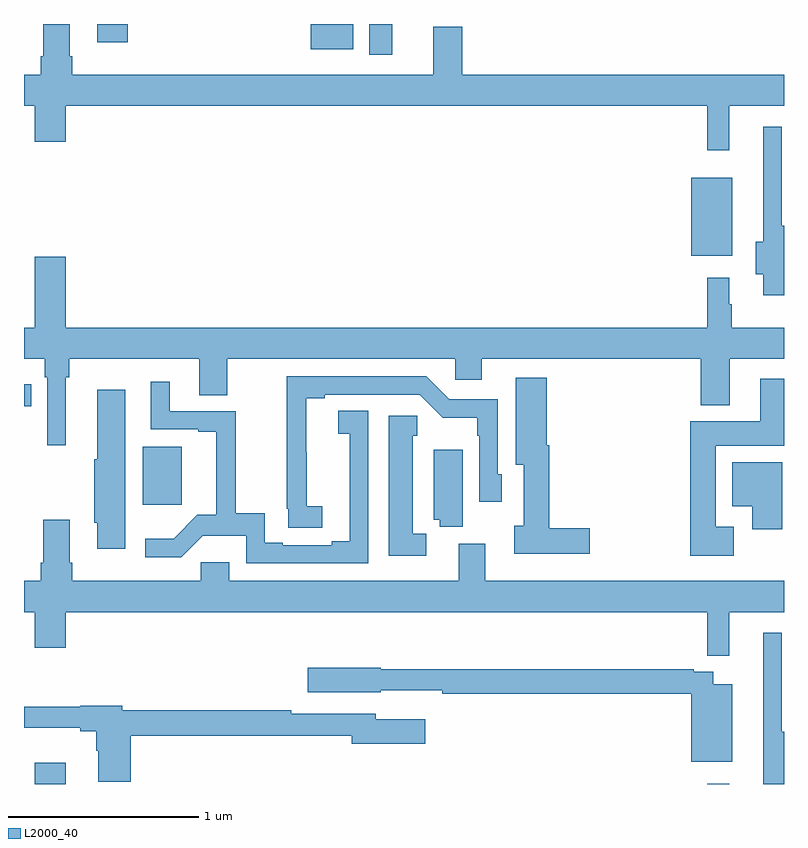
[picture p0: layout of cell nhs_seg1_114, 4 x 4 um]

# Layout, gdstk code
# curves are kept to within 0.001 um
import gdstk
lib = gdstk.Library(unit=1e-6, precision=1e-09)
def R(c, l, rs):  # rectangles x0, y0, x1, y1
    for r in rs: c.add(gdstk.rectangle(r[:2], r[2:], *l))
def P(c, l, *ps):  # polygons
    for p in ps: c.add(gdstk.Polygon(p, *l))
L2000_40 = (2000, 40)

nhs_seg1_114 = lib.new_cell('nhs_seg1_114')
R(nhs_seg1_114, L2000_40, [(117.056,512.199,117.22,512.311), (120.595,512.199,120.712,512.2), (117.626,513.668,117.829,513.973), (117,514.186,117.038,514.302), (120.512,514.979,120.727,515.389), (118.817,516.036,118.939,516.199), (118.508,516.065,118.732,516.199), (117.386,516.102,117.545,516.199)])
P(nhs_seg1_114, L2000_40, [(120.713,515.768),(121,515.768),(121,515.932),(119.306,515.932),(119.306,516.184),(119.153,516.184),(119.153,515.932),(117.254,515.932),(117.254,516.028),(117.241,516.028),(117.241,516.199),(117.101,516.199),(117.101,516.028),(117.089,516.028),(117.089,515.932),(117,515.932),(117,515.768),(117.056,515.768),(117.056,515.58),(117.22,515.58),(117.22,515.768),(120.595,515.768),(120.595,515.535),(120.713,515.535)],
  [(121,515.137),(120.987,515.137),(120.987,515.659),(120.89,515.659),(120.89,515.054),(120.851,515.054),(120.851,514.883),(120.89,514.883),(120.89,514.772),(121,514.772)],
  [(117.22,514.34),(117.239,514.34),(117.239,514.436),(117.923,514.436),(117.923,514.246),(118.071,514.246),(118.071,514.436),(119.271,514.436),(119.271,514.326),(119.41,514.326),(119.41,514.436),(120.563,514.436),(120.563,514.193),(120.715,514.193),(120.715,514.436),(121,514.436),(121,514.6),(120.724,514.6),(120.724,514.724),(120.712,514.724),(120.712,514.864),(120.595,514.864),(120.595,514.6),(117.22,514.6),(117.22,514.975),(117.056,514.975),(117.056,514.6),(117,514.6),(117,514.436),(117.11,514.436),(117.11,514.34),(117.123,514.34),(117.123,513.981),(117.22,513.981)],
  [(118.57,513.662),(118.488,513.662),(118.486,514.228),(118.582,514.228),(118.582,514.248),(119.082,514.248),(119.203,514.127),(119.385,514.127),(119.385,514.031),(119.397,514.031),(119.397,513.684),(119.514,513.684),(119.514,513.828),(119.493,513.828),(119.493,514.224),(119.238,514.224),(119.118,514.344),(118.384,514.344),(118.384,513.649),(118.39,513.649),(118.39,513.547),(118.57,513.547)],
  [(119.977,513.545),(119.765,513.545),(119.765,513.982),(119.752,513.982),(119.752,514.336),(119.588,514.336),(119.588,513.878),(119.63,513.878),(119.63,513.558),(119.58,513.558),(119.58,513.41),(119.977,513.41)],
  [(120.736,513.553),(120.64,513.553),(120.64,513.98),(121,513.98),(121,514.333),(120.875,514.333),(120.875,514.108),(120.506,514.108),(120.506,513.401),(120.736,513.401)],
  [(118.812,514.163),(118.653,514.163),(118.653,514.043),(118.714,514.043),(118.715,513.476),(118.619,513.476),(118.619,513.456),(118.363,513.456),(118.363,513.47),(118.266,513.47),(118.266,513.623),(118.115,513.623),(118.115,514.161),(117.766,514.161),(117.766,514.315),(117.668,514.315),(117.668,514.065),(117.917,514.065),(117.917,514.053),(118.013,514.053),(118.013,513.616),(117.913,513.616),(117.787,513.49),(117.639,513.49),(117.639,513.393),(117.828,513.393),(117.941,513.506),(118.17,513.506),(118.17,513.36),(118.812,513.36)],
  [(117.532,514.273),(117.386,514.273),(117.386,513.909),(117.371,513.909),(117.371,513.573),(117.386,513.573),(117.386,513.438),(117.532,513.438)],
  [(119.116,513.516),(119.047,513.516),(119.047,514.032),(119.069,514.032),(119.069,514.138),(118.919,514.138),(118.919,513.401),(119.116,513.401)],
  [(119.308,513.958),(119.156,513.958),(119.156,513.59),(119.188,513.59),(119.188,513.553),(119.308,513.553)],
  [(120.991,513.892),(120.728,513.892),(120.728,513.662),(120.833,513.662),(120.833,513.54),(120.991,513.54)],
  [(120.713,513.104),(121,513.104),(121,513.268),(119.428,513.268),(119.428,513.463),(119.288,513.463),(119.288,513.268),(118.081,513.268),(118.081,513.366),(117.93,513.366),(117.93,513.268),(117.254,513.268),(117.254,513.364),(117.241,513.364),(117.241,513.589),(117.101,513.589),(117.101,513.364),(117.089,513.364),(117.089,513.268),(117,513.268),(117,513.104),(117.056,513.104),(117.056,512.916),(117.22,512.916),(117.22,513.104),(120.595,513.104),(120.595,512.875),(120.713,512.875)],
  [(121,512.473),(120.987,512.473),(120.987,512.995),(120.89,512.995),(120.89,512.199),(121,512.199)],
  [(120.727,512.725),(120.628,512.725),(120.628,512.79),(120.524,512.79),(120.524,512.803),(118.878,512.803),(118.878,512.811),(118.494,512.811),(118.494,512.681),(118.878,512.681),(118.878,512.693),(119.2,512.693),(119.2,512.674),(120.512,512.674),(120.512,512.315),(120.727,512.315)],
  [(117.563,512.452),(118.724,512.452),(118.724,512.41),(119.113,512.41),(119.113,512.539),(118.852,512.539),(118.852,512.568),(118.406,512.568),(118.406,512.588),(117.516,512.588),(117.516,512.612),(117.296,512.612),(117.296,512.605),(117,512.605),(117,512.495),(117.296,512.495),(117.296,512.476),(117.38,512.476),(117.38,512.375),(117.392,512.375),(117.392,512.211),(117.563,512.211)])

lib.write_gds('nhs_seg1_114.gds')
